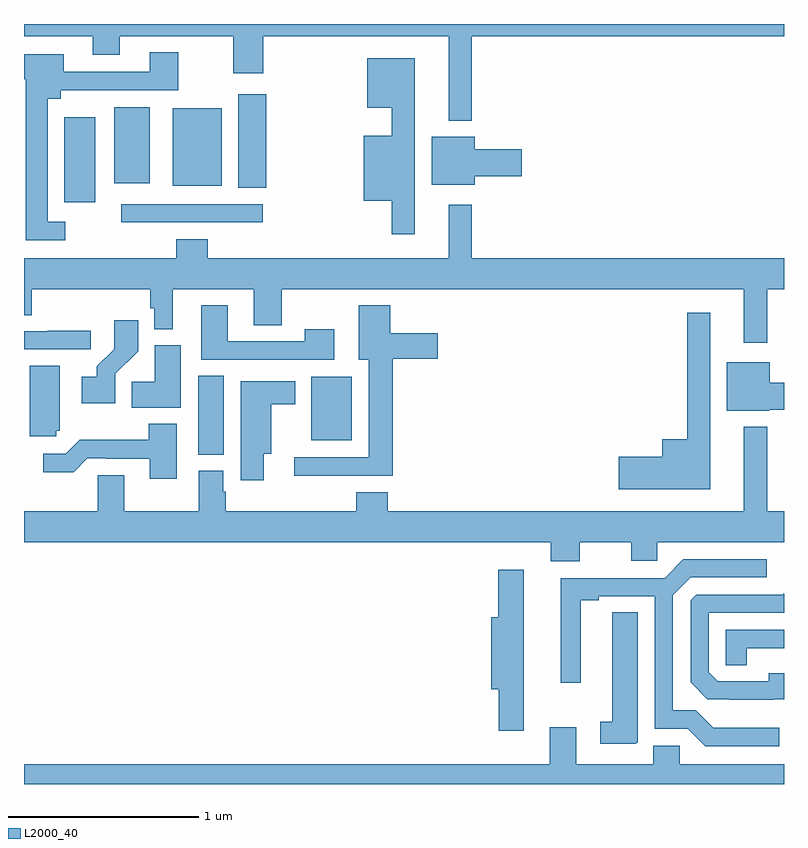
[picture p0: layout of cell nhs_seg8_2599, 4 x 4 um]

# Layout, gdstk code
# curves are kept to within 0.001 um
import gdstk
lib = gdstk.Library(unit=1e-6, precision=1e-09)
def R(c, l, rs):  # rectangles x0, y0, x1, y1
    for r in rs: c.add(gdstk.rectangle(r[:2], r[2:], *l))
def P(c, l, *ps):  # polygons
    for p in ps: c.add(gdstk.Polygon(p, *l))
L2000_40 = (2000, 40)

nhs_seg8_2599 = lib.new_cell('nhs_seg8_2599')
R(nhs_seg8_2599, L2000_40, [(275.918,1111.633,276.052,1112.048), (276.512,1111.709,276.724,1112.044), (275.511,1112.856,276.256,1112.952), (275.213,1112.961,275.374,1113.409), (276.128,1113.037,276.275,1113.529), (275.783,1113.05,276.04,1113.457), (275.474,1113.062,275.662,1113.463)])
P(nhs_seg8_2599, L2000_40, [(277.357,1113.836),(279,1113.836),(279,1113.9),(275,1113.9),(275,1113.836),(275.363,1113.836),(275.363,1113.737),(275.503,1113.737),(275.503,1113.836),(276.1,1113.836),(276.1,1113.642),(276.26,1113.642),(276.26,1113.836),(277.235,1113.836),(277.235,1113.392),(277.357,1113.392)],
  [(275.218,1112.859),(275.124,1112.859),(275.124,1113.506),(275.194,1113.506),(275.194,1113.552),(275.811,1113.552),(275.811,1113.751),(275.663,1113.751),(275.663,1113.648),(275.209,1113.648),(275.209,1113.742),(275,1113.742),(275,1113.608),(275.008,1113.608),(275.008,1112.763),(275.218,1112.763)],
  [(277.057,1113.721),(276.806,1113.721),(276.806,1113.458),(276.936,1113.458),(276.936,1113.313),(276.788,1113.313),(276.788,1112.969),(276.936,1112.969),(276.936,1112.793),(277.057,1112.793)],
  [(277.372,1113.1),(277.621,1113.1),(277.621,1113.242),(277.372,1113.242),(277.372,1113.307),(277.145,1113.307),(277.145,1113.053),(277.372,1113.053)],
  [(278.911,1112.504),(279,1112.504),(279,1112.668),(277.357,1112.668),(277.357,1112.95),(277.235,1112.95),(277.235,1112.668),(275.966,1112.668),(275.966,1112.767),(275.801,1112.767),(275.801,1112.668),(275,1112.668),(275,1112.368),(275.042,1112.368),(275.042,1112.504),(275.665,1112.504),(275.665,1112.403),(275.685,1112.403),(275.685,1112.294),(275.782,1112.294),(275.782,1112.504),(276.209,1112.504),(276.209,1112.314),(276.357,1112.314),(276.357,1112.504),(278.789,1112.504),(278.789,1112.223),(278.911,1112.223)],
  [(276.634,1112.293),(276.478,1112.293),(276.478,1112.229),(276.073,1112.229),(276.073,1112.419),(275.933,1112.419),(275.933,1112.133),(276.634,1112.133)],
  [(276.941,1112.138),(277.177,1112.138),(277.177,1112.272),(276.928,1112.272),(276.928,1112.419),(276.761,1112.419),(276.761,1112.132),(276.815,1112.132),(276.815,1111.62),(276.423,1111.62),(276.423,1111.523),(276.941,1111.523)],
  [(278.611,1112.38),(278.49,1112.38),(278.49,1111.714),(278.36,1111.714),(278.36,1111.622),(278.13,1111.622),(278.13,1111.451),(278.611,1111.451)],
  [(275.481,1112.059),(275.6,1112.178),(275.6,1112.341),(275.475,1112.341),(275.475,1112.189),(275.384,1112.099),(275.384,1112.044),(275.304,1112.044),(275.304,1111.904),(275.481,1111.904)],
  [(275.35,1112.286),(275.125,1112.286),(275.125,1112.283),(275,1112.283),(275,1112.187),(275.35,1112.187)],
  [(275.824,1112.209),(275.687,1112.209),(275.687,1112.018),(275.566,1112.018),(275.566,1111.88),(275.824,1111.88)],
  [(278.922,1111.871),(279,1111.871),(279,1112.013),(278.926,1112.013),(278.926,1112.119),(278.699,1112.119),(278.699,1111.865),(278.922,1111.865)],
  [(275.169,1111.758),(275.188,1111.758),(275.188,1112.102),(275.03,1112.102),(275.03,1111.731),(275.169,1111.731)],
  [(276.262,1111.637),(276.301,1111.637),(276.301,1111.898),(276.427,1111.898),(276.427,1112.02),(276.14,1112.02),(276.14,1111.5),(276.262,1111.5)],
  [(275.803,1111.795),(275.656,1111.795),(275.656,1111.711),(275.293,1111.711),(275.22,1111.638),(275.1,1111.638),(275.1,1111.541),(275.261,1111.541),(275.334,1111.614),(275.434,1111.614),(275.434,1111.611),(275.663,1111.611),(275.663,1111.506),(275.803,1111.506)],
  [(277.924,1111.172),(278.195,1111.172),(278.195,1111.074),(278.334,1111.074),(278.334,1111.172),(279,1111.172),(279,1111.336),(278.911,1111.336),(278.911,1111.78),(278.789,1111.78),(278.789,1111.336),(276.914,1111.336),(276.914,1111.435),(276.749,1111.435),(276.749,1111.336),(276.062,1111.336),(276.062,1111.437),(276.049,1111.437),(276.049,1111.548),(275.921,1111.548),(275.921,1111.336),(275.527,1111.336),(275.527,1111.526),(275.388,1111.526),(275.388,1111.336),(275,1111.336),(275,1111.172),(277.772,1111.172),(277.772,1111.073),(277.924,1111.073)],
  [(278.974,1110.196),(278.627,1110.196),(278.536,1110.287),(278.415,1110.287),(278.415,1110.894),(278.508,1110.987),(278.908,1110.987),(278.908,1111.083),(278.471,1111.083),(278.372,1110.984),(277.826,1110.984),(277.826,1110.432),(277.93,1110.432),(277.93,1110.868),(278.026,1110.868),(278.026,1110.888),(278.319,1110.888),(278.319,1110.192),(278.493,1110.192),(278.586,1110.099),(278.974,1110.099)],
  [(277.63,1111.027),(277.496,1111.027),(277.496,1110.778),(277.46,1110.778),(277.46,1110.398),(277.499,1110.398),(277.499,1110.18),(277.63,1110.18)],
  [(278.945,1110.345),(279,1110.345),(279,1110.484),(278.921,1110.484),(278.921,1110.441),(278.652,1110.441),(278.604,1110.489),(278.604,1110.801),(279,1110.801),(279,1110.902),(278.995,1110.902),(278.995,1110.897),(278.538,1110.897),(278.508,1110.867),(278.508,1110.435),(278.597,1110.346),(278.713,1110.346),(278.713,1110.344)],
  [(278.23,1110.121),(278.23,1110.803),(278.096,1110.803),(278.096,1110.227),(278.034,1110.227),(278.034,1110.111),(278.22,1110.111)],
  [(278.803,1110.614),(279,1110.614),(279,1110.711),(278.694,1110.711),(278.694,1110.526),(278.803,1110.526)],
  [(279,1110.004),(278.451,1110.004),(278.451,1110.102),(278.312,1110.102),(278.312,1110.004),(277.906,1110.004),(277.906,1110.199),(277.766,1110.199),(277.766,1110.004),(275,1110.004),(275,1109.9),(279,1109.9)])

lib.write_gds('nhs_seg8_2599.gds')
